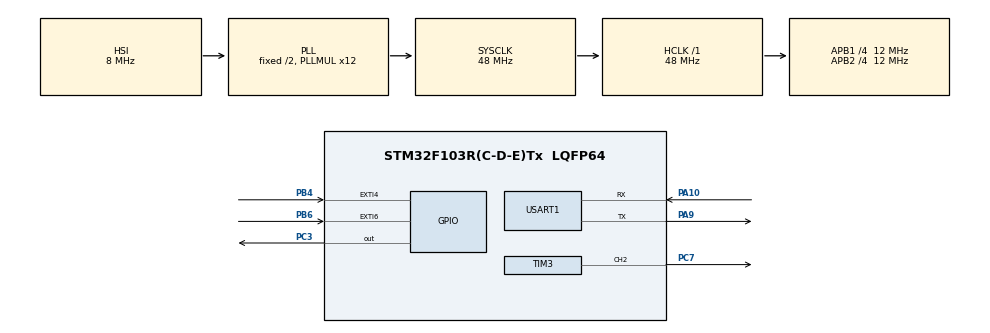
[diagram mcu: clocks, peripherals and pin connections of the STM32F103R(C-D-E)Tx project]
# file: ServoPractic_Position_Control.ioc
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Mcu.Family=STM32F1
Mcu.Name=STM32F103R(C-D-E)Tx
Mcu.Package=LQFP64
NVIC.EXTI4_IRQn=true\:0\:0\:false\:false\:true\:true\:true\:true
NVIC.EXTI9_5_IRQn=true\:0\:0\:false\:false\:true\:true\:true\:true
NVIC.PriorityGroup=NVIC_PRIORITYGROUP_4
NVIC.TIM4_IRQn=true\:0\:0\:false\:false\:true\:true\:true\:true
NVIC.TIM5_IRQn=true\:0\:0\:false\:false\:true\:true\:true\:true
NVIC.USART1_IRQn=true\:0\:0\:false\:false\:true\:true\:true\:true
PA10.Mode=Asynchronous
PA10.Signal=USART1_RX
PA13.Mode=Serial_Wire
PA13.Signal=SYS_JTMS-SWDIO
PA14.Mode=Serial_Wire
PA14.Signal=SYS_JTCK-SWCLK
PA9.Mode=Asynchronous
PA9.Signal=USART1_TX
PB4.GPIO_ModeDefaultEXTI=GPIO_MODE_IT_RISING_FALLING
PB4.GPIO_PuPd=GPIO_PULLUP
PB4.Signal=GPXTI4
PB6.GPIO_ModeDefaultEXTI=GPIO_MODE_IT_RISING_FALLING
PB6.GPIO_PuPd=GPIO_PULLUP
PB6.Signal=GPXTI6
PC3.Signal=GPIO_Output
PC7.Signal=S_TIM3_CH2
ProjectManager.HeapSize=0x200
ProjectManager.StackSize=0x400
ProjectManager.TargetToolchain=MDK-ARM V5.32
RCC.AHBFreq_Value=48000000
RCC.APB1CLKDivider=RCC_HCLK_DIV4
RCC.APB1Freq_Value=12000000
RCC.APB1TimFreq_Value=24000000
RCC.APB2CLKDivider=RCC_HCLK_DIV4
RCC.APB2Freq_Value=12000000
RCC.APB2TimFreq_Value=24000000
RCC.HCLKFreq_Value=48000000
RCC.PLLMUL=RCC_PLL_MUL12
RCC.SYSCLKFreq_VALUE=48000000
RCC.SYSCLKSource=RCC_SYSCLKSOURCE_PLLCLK
RCC.USBFreq_Value=48000000
SH.S_TIM3_CH2.0=TIM3_CH2,PWM Generation2 CH2
TIM3.Channel-PWM\ Generation2\ CH2=TIM_CHANNEL_2
TIM3.Period=100
TIM3.Prescaler=11
TIM4.Period=4
TIM4.Prescaler=23999
TIM5.Period=9
TIM5.Prescaler=23999
USART1.VirtualMode=VM_ASYNC
VP_TIM4_VS_ClockSourceINT.Mode=Internal
VP_TIM5_VS_ClockSourceINT.Mode=Internal
board=custom

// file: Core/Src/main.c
/* USER CODE BEGIN Header */
/**
  ******************************************************************************
  * @file           : main.c
  * @brief          : Main program body
  ******************************************************************************
  * @attention
  *
  * Copyright (c) 2023 STMicroelectronics.
  * All rights reserved.
  *
  * This software is licensed under terms that can be found in the LICENSE file
  * in the root directory of this software component.
  * If no LICENSE file comes with this software, it is provided AS-IS.
  *
  ******************************************************************************
  */
/* USER CODE END Header */
#include "main.h"

/* USER CODE BEGIN Includes */
#include "string.h"
#include "stdio.h"
#include "stdlib.h"
#include "stdbool.h"
/* USER CODE END Includes */

/* USER CODE BEGIN PD */
#define UPDATE_PERIOD			0.005		/* Chu ki cap nhat: 5ms = ngat timer 4 */
#define PULSES_IN_ROUND		500			/* So xung tren 1 vong cua dong co */
/* USER CODE END PD */

TIM_HandleTypeDef htim3;
TIM_HandleTypeDef htim4;
TIM_HandleTypeDef htim5;

UART_HandleTypeDef huart1;

/* USER CODE BEGIN PV */
/* Thong so ham PDController : tuy vao loai dong co ma tinh lai cac thong so Kp, Kd, alpha */
float 		Kp 							= 19.74380165;		/* Ti le */
float 		Ki 							= 0.0;						/* Tich phan */
float 		Kd 							= 0.642975207;		/* Vi phan */
float			alpha 					= 0.1;						/* Dung cho Low pass filter */
uint8_t 	dir							= 0;							/* Chieu quay */

int32_t 	UHiLim 					= 100;						/* Gioi han tren pwm */
int32_t 	ULoLim 					= 0;							/* Gioi han duoi pwm */

/* Thong so dieu khien vi tri 3 cap do */
	// For Low Speed
float Kp1 = 28.95;		// Kp2 = wn * cp2 = 120.637 * 0.24
	// For Middle Speed
float Kp2 = 28.95;		// Kp2 = wn * cp2 = 120.637 * 0.24
float Kv2 = 115.81;		// Kv2 = wn * cv2 = 120.637 * 0.96
	// For High Speed
float Kp4 = 28.95;		// Kp4 = wn * cp = 120.637 * 0.24
float Kvg = 0.76;		// Kvg = cv * wn * Jt

/* Thong so ham HAL_UART_RxCpltCallback */
bool 			run             = false;					/* Dong co stop */
uint16_t	DesiredSpeed  	= 0;						/* Van toc mong muon (RPM) */
float			DesiredVel  		= 0;						/* Van toc mong muon (rad/s) */
int16_t		DesiredRound  	= 0;							/* Vi tri mong muon (Round) */
float 		DesiredPos 			= 0;	 						/* Vi tri mong muon (rad) */
uint8_t 	Rx_indx;
char 			Rx_Buffer[20];
char 			Rx_data[2];

/* Thong so ham HAL_GPIO_EXTI_Callback */
uint8_t 	PreviousState 	= 0;							/* Trang thai encoder chu ki truoc */
int16_t 	CountValue  		= 0;							/* Bien dem encoder => tinh vi tri */
int32_t 	PosCnt  				= 0;							/* Bien dem so vong quay => tinh vi tri */
uint16_t 	VelCnt      		= 0;							/* Bien dem encoder => tinh van toc */
uint16_t 	VelTemp      		= 0;							/* Bien dem encoder => tinh van toc */

/* Thong so ham HAL_TIM_PeriodElapsedCallback */
float 		CurrPos 	 			= 0;	 						/* Vi tri hien tai (rad) */
int16_t 	CurrRound 	 		= 0;	 						/* Vi tri hien tai (round) */
float 		CurrVel 				= 0;	 						/* Van toc hien tai (rad/s) */
int16_t 		CurrSpeed 		= 0;	 						/* Van toc hien tai (RPM) */
uint8_t 	tick						= 0;							/* Dung de dem cho timer 5 */
uint8_t 	PWMSet 					= 0;	 						/* PWM dieu khien dong co */
/* USER CODE END PV */

void SystemClock_Config(void);
static void MX_GPIO_Init(void);
static void MX_TIM3_Init(void);
static void MX_TIM4_Init(void);
static void MX_TIM5_Init(void);
static void MX_USART1_UART_Init(void);

/* USER CODE BEGIN 0 */

/* ================================================= Ham printf  =================================================== */
struct __FILE
{
  int handle;
  /* Whatever you require here. If the only file you are using is */
  /* standard output using printf() for debugging, no file handling */
  /* is required. */
};

FILE __stdout;
int fputc(int ch, FILE *f)
{
	char tempch = ch;

	HAL_UART_Transmit(&huart1, (uint8_t *)&	tempch,1,100);
	return ch;
}
/* ================================================= Ket thuc ham printf  =================================================== */

/* ================================================= Ham dieu khien vi tri su dung bo PD + (Low pas filter) =================================================== */
int32_t  PDController(float desired_val, float real_val, float gain, float Kd, float alpha, int uHiLim, int uLoLim) {
	static float err_p = 0;
	static float uD_f_p = 0;
	float err;
	float uP, uD, uD_f;
	int uOut;

	err = desired_val - real_val;

	if(err < 0)
	{
		err = -err;
		dir = 2;
	}
	else if(err > 0)
	{
		dir = 1;
	}
	else
	{
		dir = 0;
	}

 	uP = gain*err; // khau P

	uD  = Kd*(err-err_p)/UPDATE_PERIOD; // khau D

	uD_f = alpha*uD + (1-alpha)*uD_f_p; // low pass filter cho khau D

	err_p = err;
	uD_f_p = uD_f;

	uOut = (int) uP + uD_f; // PWM out

	if (uOut>UHiLim) {
		uOut=UHiLim;
	}
	else if(uOut<ULoLim) {
		uOut=ULoLim;
	}
  return uOut;
}
/* ================================================= Ket thuc ham dieu khien vi tri su dung bo PD +(Low pas filter) =================================================== */

/* ====================================== Ham dieu khien dong co => xet chieu quay va pwm ====================================== */
void motorRot(uint8_t runMode, int32_t pwmSet)
{
	if(runMode == 1)			/* quay chieu CW */
	{
		HAL_GPIO_WritePin(GPIOC, GPIO_PIN_3, GPIO_PIN_SET);
		__HAL_TIM_SetCompare(&htim3, TIM_CHANNEL_2, pwmSet);
	}
	else if(runMode == 2)	/* quay chieu CCW */
	{
		HAL_GPIO_WritePin(GPIOC, GPIO_PIN_3, GPIO_PIN_RESET);
		__HAL_TIM_SetCompare(&htim3, TIM_CHANNEL_2, pwmSet);
	}
	else									/* stop */
	{
		HAL_GPIO_WritePin(GPIOC, GPIO_PIN_3, GPIO_PIN_RESET);
		__HAL_TIM_SetCompare(&htim3, TIM_CHANNEL_2, 0);
	}
}
/* =============================================== Ket thuc ham dieu khien dong co ============================================= */

/* USER CODE END 0 */

int main(void)
{

  /* MCU Configuration--------------------------------------------------------*/

  /* Reset of all peripherals, Initializes the Flash interface and the Systick. */
  HAL_Init();

  /* Configure the system clock */
  SystemClock_Config();

  /* Initialize all configured peripherals */
  MX_GPIO_Init();
  MX_TIM3_Init();
  MX_TIM4_Init();
  MX_TIM5_Init();
  MX_USART1_UART_Init();
  /* USER CODE BEGIN 2 */
	HAL_TIM_PWM_Start(&htim3, TIM_CHANNEL_2);						// Enable PWM
	HAL_TIM_Base_Start_IT(&htim4);											// Enable interrupt Timer 4
	HAL_TIM_Base_Start_IT(&htim5);											// Enable interrupt Timer 5
	HAL_UART_Receive_IT(&huart1,(uint8_t*) Rx_data, 1);	// Enable receive interrupt UART
  /* USER CODE END 2 */

  /* Infinite loop */
  while (1)
  {

  }
}

void SystemClock_Config(void)
{
  RCC_OscInitTypeDef RCC_OscInitStruct = {0};
  RCC_ClkInitTypeDef RCC_ClkInitStruct = {0};

  /** Initializes the RCC Oscillators according to the specified parameters
  * in the RCC_OscInitTypeDef structure.
  */
  RCC_OscInitStruct.OscillatorType = RCC_OSCILLATORTYPE_HSI;
  RCC_OscInitStruct.HSIState = RCC_HSI_ON;
  RCC_OscInitStruct.HSICalibrationValue = RCC_HSICALIBRATION_DEFAULT;
  RCC_OscInitStruct.PLL.PLLState = RCC_PLL_ON;
  RCC_OscInitStruct.PLL.PLLSource = RCC_PLLSOURCE_HSI_DIV2;
  RCC_OscInitStruct.PLL.PLLMUL = RCC_PLL_MUL12;
  if (HAL_RCC_OscConfig(&RCC_OscInitStruct) != HAL_OK)
  {
    Error_Handler();
  }

  /** Initializes the CPU, AHB and APB buses clocks
  */
  RCC_ClkInitStruct.ClockType = RCC_CLOCKTYPE_HCLK|RCC_CLOCKTYPE_SYSCLK
                              |RCC_CLOCKTYPE_PCLK1|RCC_CLOCKTYPE_PCLK2;
  RCC_ClkInitStruct.SYSCLKSource = RCC_SYSCLKSOURCE_PLLCLK;
  RCC_ClkInitStruct.AHBCLKDivider = RCC_SYSCLK_DIV1;
  RCC_ClkInitStruct.APB1CLKDivider = RCC_HCLK_DIV4;
  RCC_ClkInitStruct.APB2CLKDivider = RCC_HCLK_DIV4;

  if (HAL_RCC_ClockConfig(&RCC_ClkInitStruct, FLASH_LATENCY_1) != HAL_OK)
  {
    Error_Handler();
  }
}

static void MX_TIM3_Init(void)
{

  TIM_MasterConfigTypeDef sMasterConfig = {0};
  TIM_OC_InitTypeDef sConfigOC = {0};

  htim3.Instance = TIM3;
  htim3.Init.Prescaler = 11;
  htim3.Init.CounterMode = TIM_COUNTERMODE_UP;
  htim3.Init.Period = 100;
  htim3.Init.ClockDivision = TIM_CLOCKDIVISION_DIV1;
  htim3.Init.AutoReloadPreload = TIM_AUTORELOAD_PRELOAD_DISABLE;
  if (HAL_TIM_PWM_Init(&htim3) != HAL_OK)
  {
    Error_Handler();
  }
  sMasterConfig.MasterOutputTrigger = TIM_TRGO_RESET;
  sMasterConfig.MasterSlaveMode = TIM_MASTERSLAVEMODE_DISABLE;
  if (HAL_TIMEx_MasterConfigSynchronization(&htim3, &sMasterConfig) != HAL_OK)
  {
    Error_Handler();
  }
  sConfigOC.OCMode = TIM_OCMODE_PWM1;
  sConfigOC.Pulse = 0;
  sConfigOC.OCPolarity = TIM_OCPOLARITY_HIGH;
  sConfigOC.OCFastMode = TIM_OCFAST_DISABLE;
  if (HAL_TIM_PWM_ConfigChannel(&htim3, &sConfigOC, TIM_CHANNEL_2) != HAL_OK)
  {
    Error_Handler();
  }
  HAL_TIM_MspPostInit(&htim3);

}

static void MX_TIM4_Init(void)
{

  TIM_ClockConfigTypeDef sClockSourceConfig = {0};
  TIM_MasterConfigTypeDef sMasterConfig = {0};

  htim4.Instance = TIM4;
  htim4.Init.Prescaler = 23999;
  htim4.Init.CounterMode = TIM_COUNTERMODE_UP;
  htim4.Init.Period = 4;
  htim4.Init.ClockDivision = TIM_CLOCKDIVISION_DIV1;
  htim4.Init.AutoReloadPreload = TIM_AUTORELOAD_PRELOAD_DISABLE;
  if (HAL_TIM_Base_Init(&htim4) != HAL_OK)
  {
    Error_Handler();
  }
  sClockSourceConfig.ClockSource = TIM_CLOCKSOURCE_INTERNAL;
  if (HAL_TIM_ConfigClockSource(&htim4, &sClockSourceConfig) != HAL_OK)
  {
    Error_Handler();
  }
  sMasterConfig.MasterOutputTrigger = TIM_TRGO_RESET;
  sMasterConfig.MasterSlaveMode = TIM_MASTERSLAVEMODE_DISABLE;
  if (HAL_TIMEx_MasterConfigSynchronization(&htim4, &sMasterConfig) != HAL_OK)
  {
    Error_Handler();
  }

}

static void MX_TIM5_Init(void)
{

  TIM_ClockConfigTypeDef sClockSourceConfig = {0};
  TIM_MasterConfigTypeDef sMasterConfig = {0};

  htim5.Instance = TIM5;
  htim5.Init.Prescaler = 23999;
  htim5.Init.CounterMode = TIM_COUNTERMODE_UP;
  htim5.Init.Period = 9;
  htim5.Init.ClockDivision = TIM_CLOCKDIVISION_DIV1;
  htim5.Init.AutoReloadPreload = TIM_AUTORELOAD_PRELOAD_DISABLE;
  if (HAL_TIM_Base_Init(&htim5) != HAL_OK)
  {
    Error_Handler();
  }
  sClockSourceConfig.ClockSource = TIM_CLOCKSOURCE_INTERNAL;
  if (HAL_TIM_ConfigClockSource(&htim5, &sClockSourceConfig) != HAL_OK)
  {
    Error_Handler();
  }
  sMasterConfig.MasterOutputTrigger = TIM_TRGO_RESET;
  sMasterConfig.MasterSlaveMode = TIM_MASTERSLAVEMODE_DISABLE;
  if (HAL_TIMEx_MasterConfigSynchronization(&htim5, &sMasterConfig) != HAL_OK)
  {
    Error_Handler();
  }

}

static void MX_USART1_UART_Init(void)
{

  huart1.Instance = USART1;
  huart1.Init.BaudRate = 115200;
  huart1.Init.WordLength = UART_WORDLENGTH_8B;
  huart1.Init.StopBits = UART_STOPBITS_1;
  huart1.Init.Parity = UART_PARITY_NONE;
  huart1.Init.Mode = UART_MODE_TX_RX;
  huart1.Init.HwFlowCtl = UART_HWCONTROL_NONE;
  huart1.Init.OverSampling = UART_OVERSAMPLING_16;
  if (HAL_UART_Init(&huart1) != HAL_OK)
  {
    Error_Handler();
  }

}

static void MX_GPIO_Init(void)
{
  GPIO_InitTypeDef GPIO_InitStruct = {0};

  /* GPIO Ports Clock Enable */
  __HAL_RCC_GPIOC_CLK_ENABLE();
  __HAL_RCC_GPIOD_CLK_ENABLE();
  __HAL_RCC_GPIOA_CLK_ENABLE();
  __HAL_RCC_GPIOB_CLK_ENABLE();

  /*Configure GPIO pin Output Level */
  HAL_GPIO_WritePin(GPIOC, GPIO_PIN_3, GPIO_PIN_RESET);

  /*Configure GPIO pins : PC13 PC14 PC15 PC0
                           PC1 PC2 PC4 PC5
                           PC6 PC8 PC9 PC10
                           PC11 PC12 */
  GPIO_InitStruct.Pin = GPIO_PIN_13|GPIO_PIN_14|GPIO_PIN_15|GPIO_PIN_0
                          |GPIO_PIN_1|GPIO_PIN_2|GPIO_PIN_4|GPIO_PIN_5
                          |GPIO_PIN_6|GPIO_PIN_8|GPIO_PIN_9|GPIO_PIN_10
                          |GPIO_PIN_11|GPIO_PIN_12;
  GPIO_InitStruct.Mode = GPIO_MODE_ANALOG;
  HAL_GPIO_Init(GPIOC, &GPIO_InitStruct);

  /*Configure GPIO pins : PD0 PD1 PD2 */
  GPIO_InitStruct.Pin = GPIO_PIN_0|GPIO_PIN_1|GPIO_PIN_2;
  GPIO_InitStruct.Mode = GPIO_MODE_ANALOG;
  HAL_GPIO_Init(GPIOD, &GPIO_InitStruct);

  /*Configure GPIO pin : PC3 */
  GPIO_InitStruct.Pin = GPIO_PIN_3;
  GPIO_InitStruct.Mode = GPIO_MODE_OUTPUT_PP;
  GPIO_InitStruct.Pull = GPIO_NOPULL;
  GPIO_InitStruct.Speed = GPIO_SPEED_FREQ_LOW;
  HAL_GPIO_Init(GPIOC, &GPIO_InitStruct);

  /*Configure GPIO pins : PA0 PA1 PA2 PA3
                           PA4 PA5 PA6 PA7
                           PA8 PA11 PA12 PA15 */
  GPIO_InitStruct.Pin = GPIO_PIN_0|GPIO_PIN_1|GPIO_PIN_2|GPIO_PIN_3
                          |GPIO_PIN_4|GPIO_PIN_5|GPIO_PIN_6|GPIO_PIN_7
                          |GPIO_PIN_8|GPIO_PIN_11|GPIO_PIN_12|GPIO_PIN_15;
  GPIO_InitStruct.Mode = GPIO_MODE_ANALOG;
  HAL_GPIO_Init(GPIOA, &GPIO_InitStruct);

  /*Configure GPIO pins : PB0 PB1 PB2 PB10
                           PB11 PB12 PB13 PB14
                           PB15 PB3 PB5 PB7
                           PB8 PB9 */
  GPIO_InitStruct.Pin = GPIO_PIN_0|GPIO_PIN_1|GPIO_PIN_2|GPIO_PIN_10
                          |GPIO_PIN_11|GPIO_PIN_12|GPIO_PIN_13|GPIO_PIN_14
                          |GPIO_PIN_15|GPIO_PIN_3|GPIO_PIN_5|GPIO_PIN_7
                          |GPIO_PIN_8|GPIO_PIN_9;
  GPIO_InitStruct.Mode = GPIO_MODE_ANALOG;
  HAL_GPIO_Init(GPIOB, &GPIO_InitStruct);

  /*Configure GPIO pins : PB4 PB6 */
  GPIO_InitStruct.Pin = GPIO_PIN_4|GPIO_PIN_6;
  GPIO_InitStruct.Mode = GPIO_MODE_IT_RISING_FALLING;
  GPIO_InitStruct.Pull = GPIO_PULLUP;
  HAL_GPIO_Init(GPIOB, &GPIO_InitStruct);

  /*Configure peripheral I/O remapping */
  __HAL_AFIO_REMAP_PD01_ENABLE();

  /* EXTI interrupt init*/
  HAL_NVIC_SetPriority(EXTI4_IRQn, 0, 0);
  HAL_NVIC_EnableIRQ(EXTI4_IRQn);

  HAL_NVIC_SetPriority(EXTI9_5_IRQn, 0, 0);
  HAL_NVIC_EnableIRQ(EXTI9_5_IRQn);

}

/* USER CODE BEGIN 4 */

/* ================================================= Ham ngat UART => nhan du lieu qua serial =================================================== */
void HAL_UART_RxCpltCallback(UART_HandleTypeDef *huart)
{
	uint8_t i;
	if(huart->Instance == USART1) //uart1
	{
			if(Rx_indx==0) {for (i=0;i<20;i++) Rx_Buffer[i] = 0;}

			switch(Rx_data[0]) {
					/* dung dong co */
					case 'e':
							run = false;
							break;
					/* dong co chay */
					case 'r':
							run = true;
							break;
					case 's':
							DesiredRound = atoi(Rx_Buffer);								/* Vi tri mong muon (round) */
							DesiredPos = DesiredRound*2*3.1415;						/* Vi tri mong muon (rad) */
							memset(Rx_Buffer, 0, sizeof(Rx_Buffer));
							Rx_indx = 0;
							break;
					case 'v':
							Rx_indx = 0;
							break;
					case '0':
					case '1':
					case '2':
					case '3':
					case '4':
					case '5':
					case '6':
					case '7':
					case '8':
					case '9':
					case '.':
					case '-':																				/* So am */
							Rx_Buffer[Rx_indx++] |= Rx_data[0];
							break;
					default:
							break;
			}
			HAL_UART_Receive_IT(&huart1,(uint8_t*)Rx_data,1);
	}
}
/* ================================================= Ket thuc ham ngat UART =================================================== */

/* ================================================= Ham ngat external => tinh encoder =================================================== */
void HAL_GPIO_EXTI_Callback(uint16_t GPIO_Pin)
{
	// Encoder Channel A
	if(GPIO_Pin == GPIO_PIN_6) /* ENC_CHA label trong CubeMX */
	{
		unsigned char StateA;
		StateA = (StateA<<1) | HAL_GPIO_ReadPin(GPIOB, GPIO_PIN_4);
		StateA = (StateA<<1) | HAL_GPIO_ReadPin(GPIOB, GPIO_PIN_6);
		StateA = StateA&0x03;
		switch (StateA) {
			case 0:
				if(PreviousState==1) CountValue++;
				else CountValue--;
			break;
			case 1:
				if(PreviousState==3) CountValue++;
				else CountValue--;
			break;
			case 2:
				if(PreviousState==0) CountValue++;
				else CountValue--;
			break;
			case 3:
				if(PreviousState==2) CountValue++;
				else CountValue--;
			break;
			}
		PreviousState = StateA;
		VelCnt++;
		if (CountValue>=4*PULSES_IN_ROUND) {
			CountValue = 0;
			PosCnt++;
		}
		else if	(CountValue<=-4*PULSES_IN_ROUND) {
			CountValue = 0;
			PosCnt--;
		}
	}
	// Encoder Channel B
	if(GPIO_Pin == GPIO_PIN_4) /* ENC_CHB label trong CubeMX */
	{
		unsigned char StateB;
		StateB = (StateB<<1) | HAL_GPIO_ReadPin(GPIOB, GPIO_PIN_4);
		StateB = (StateB<<1) | HAL_GPIO_ReadPin(GPIOB, GPIO_PIN_6);
		StateB = StateB&0x03;
		switch (StateB) {
			case 0:
				if(PreviousState==1) CountValue++;
				else CountValue--;
			break;
			case 1:
				if(PreviousState==3) CountValue++;
				else CountValue--;
			break;
			case 2:
				if(PreviousState==0) CountValue++;
				else CountValue--;
			break;
			case 3:
				if(PreviousState==2) CountValue++;
				else CountValue--;
			break;
			}
		PreviousState = StateB;
		VelCnt++;
		if (CountValue>=4*PULSES_IN_ROUND) {
			CountValue = 0;
			PosCnt++;
		}
		else if	(CountValue<=-4*PULSES_IN_ROUND) {
			CountValue = 0;
			PosCnt--;
		}
	}
}
/* ================================================= Ket thuc ham ngat external =================================================== */

/* ================================================= Ham ngat timer =================================================== */
void HAL_TIM_PeriodElapsedCallback(TIM_HandleTypeDef *htim) {

	if(htim->Instance==TIM4)																												/* Ngat timer 4: 5ms => tinh PID */
	{
		CurrPos 	= PosCnt*2*3.1415 + CountValue*2*3.1415/(4*PULSES_IN_ROUND);										/* rad */
		CurrRound = PosCnt + CountValue/(4*PULSES_IN_ROUND);																			/* round */

		VelTemp		 	= VelCnt;																												/* Gan bien dem van toc vao bien tam */
		VelCnt 			= 0;																														/* Reset bien dem van toc */
		CurrSpeed 	= 60*VelTemp/(4*PULSES_IN_ROUND*0.005);																			/* RPM */
		CurrVel 		= 2*3.1415*VelTemp/(4*PULSES_IN_ROUND*0.005);																/* rad/s */

		if (run==true){
			PWMSet = PDController(DesiredPos, CurrPos, Kp, Kd, alpha, UHiLim, ULoLim);	/* Tinh pwm bang bo dieu khien PD de dieu khien vi tri */

			motorRot(dir,PWMSet);																															/* Xet chieu va pwm cho dong co */
		}
		return;
	}

	if(htim->Instance==TIM5)																												/* Ngat timer 5: 10ms => gui gia tri len C# bang ham printf */
	{
		tick++;
		if ((run==true)&&(tick==5)){																									/* 10ms x 5 */
			tick = 0;
			printf("P%d\r \n", CurrRound);
		}
	}
}
/* ================================================= Ket thuc ham ngat timer =================================================== */

/* USER CODE END 4 */

void Error_Handler(void)
{
  __disable_irq();
  while (1)
  {
  }
}
